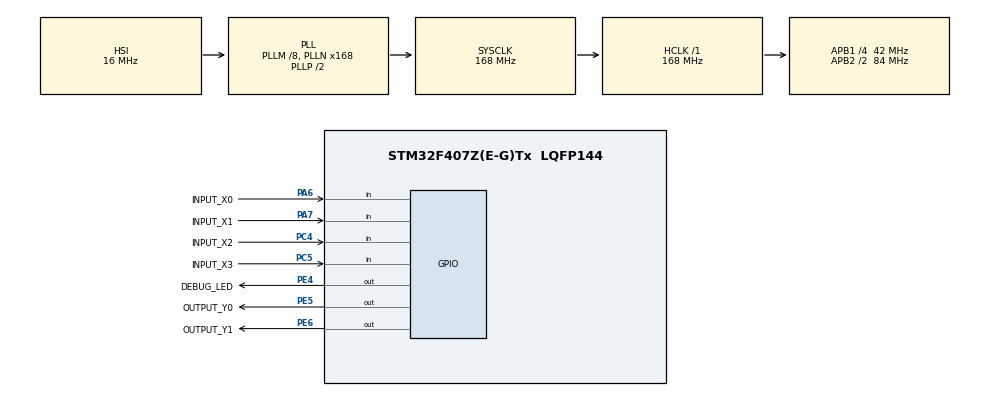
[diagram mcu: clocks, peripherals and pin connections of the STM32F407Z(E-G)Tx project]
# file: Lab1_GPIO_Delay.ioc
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Mcu.Family=STM32F4
Mcu.Name=STM32F407Z(E-G)Tx
Mcu.Package=LQFP144
NVIC.PriorityGroup=NVIC_PRIORITYGROUP_4
PA13.Mode=Serial_Wire
PA13.Signal=SYS_JTMS-SWDIO
PA14.Mode=Serial_Wire
PA14.Signal=SYS_JTCK-SWCLK
PA6.GPIO_Label=INPUT_X0
PA6.Signal=GPIO_Input
PA7.GPIO_Label=INPUT_X1
PA7.Signal=GPIO_Input
PC4.GPIO_Label=INPUT_X2
PC4.Signal=GPIO_Input
PC5.GPIO_Label=INPUT_X3
PC5.Signal=GPIO_Input
PE4.GPIO_Label=DEBUG_LED
PE4.GPIO_PuPd=GPIO_PULLUP
PE4.Signal=GPIO_Output
PE5.GPIO_Label=OUTPUT_Y0
PE5.GPIO_PuPd=GPIO_PULLUP
PE5.Signal=GPIO_Output
PE6.GPIO_Label=OUTPUT_Y1
PE6.GPIO_PuPd=GPIO_PULLUP
PE6.Signal=GPIO_Output
PH0-OSC_IN.Mode=HSE-External-Oscillator
PH0-OSC_IN.Signal=RCC_OSC_IN
PH1-OSC_OUT.Mode=HSE-External-Oscillator
PH1-OSC_OUT.Signal=RCC_OSC_OUT
ProjectManager.HeapSize=0x200
ProjectManager.StackSize=0x400
ProjectManager.TargetToolchain=STM32CubeIDE
RCC.48MHZClocksFreq_Value=84000000
RCC.AHBFreq_Value=168000000
RCC.APB1CLKDivider=RCC_HCLK_DIV4
RCC.APB1Freq_Value=42000000
RCC.APB1TimFreq_Value=84000000
RCC.APB2CLKDivider=RCC_HCLK_DIV2
RCC.APB2Freq_Value=84000000
RCC.APB2TimFreq_Value=168000000
RCC.CortexFreq_Value=168000000
RCC.HCLKFreq_Value=168000000
RCC.HSE_VALUE=8000000
RCC.HSI_VALUE=16000000
RCC.LSE_VALUE=32768
RCC.PLLM=8
RCC.PLLN=168
RCC.SYSCLKFreq_VALUE=168000000
RCC.SYSCLKSource=RCC_SYSCLKSOURCE_PLLCLK
RCC.VCOOutputFreq_Value=336000000
board=custom

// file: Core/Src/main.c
/* USER CODE BEGIN Header */
/**
  ******************************************************************************
  * @file           : main.c
  * @brief          : Main program body
  ******************************************************************************
  * @attention
  *
  * <h2><center>&copy; Copyright (c) 2023 STMicroelectronics.
  * All rights reserved.</center></h2>
  *
  * This software component is licensed by ST under BSD 3-Clause license,
  * the "License"; You may not use this file except in compliance with the
  * License. You may obtain a copy of the License at:
  *                        opensource.org/licenses/BSD-3-Clause
  *
  ******************************************************************************
  */
/* USER CODE END Header */
#include "main.h"
#include "gpio.h"

void SystemClock_Config(void);

int main(void) {

    /* MCU Configuration--------------------------------------------------------*/

    /* Reset of all peripherals, Initializes the Flash interface and the Systick. */
    HAL_Init();

    /* Configure the system clock */
    SystemClock_Config();

    /* Initialize all configured peripherals */
    MX_GPIO_Init();
    /* USER CODE BEGIN 2 */
    //setup code

    /*
     * state 0: RED -> 5s
     * state 1: GREEN -> 3s
     * state 2: YELLOW -> 1s
     * */
    int sec_count = 0,
            state = 0;
    /* USER CODE END 2 */

    /* Infinite loop */
    /* USER CODE BEGIN WHILE */
    // loop
    while (1) {
        /*
         * DEBUG_LED -> RED
         * OUTPUT_Y0 -> GREEN
         * OUTPUT_Y1 -> YELLOW
         * */
        if (sec_count < 0) {
            switch (state) {
                case 0:
                    state = 1;
                    sec_count = 3;

                    HAL_GPIO_WritePin(OUTPUT_Y1_GPIO_Port, OUTPUT_Y1_Pin, 0);
                    HAL_GPIO_WritePin(OUTPUT_Y0_GPIO_Port, OUTPUT_Y0_Pin, 1);
                    HAL_GPIO_WritePin(DEBUG_LED_GPIO_Port, DEBUG_LED_Pin, 0);
                    break;
                case 1:
                    state = 2;
                    sec_count = 1;

                    HAL_GPIO_WritePin(OUTPUT_Y1_GPIO_Port, OUTPUT_Y1_Pin, 1);
                    HAL_GPIO_WritePin(OUTPUT_Y0_GPIO_Port, OUTPUT_Y0_Pin, 0);
                    HAL_GPIO_WritePin(DEBUG_LED_GPIO_Port, DEBUG_LED_Pin, 0);
                    break;
                case 2:
                    state = 0;
                    sec_count = 5;

                    HAL_GPIO_WritePin(OUTPUT_Y1_GPIO_Port, OUTPUT_Y1_Pin, 0);
                    HAL_GPIO_WritePin(OUTPUT_Y0_GPIO_Port, OUTPUT_Y0_Pin, 0);
                    HAL_GPIO_WritePin(DEBUG_LED_GPIO_Port, DEBUG_LED_Pin, 1);
                    break;
                default:
                    // if occur ERROR, all 3 led ON
                    HAL_GPIO_WritePin(OUTPUT_Y1_GPIO_Port, OUTPUT_Y1_Pin, 1);
                    HAL_GPIO_WritePin(OUTPUT_Y0_GPIO_Port, OUTPUT_Y0_Pin, 1);
                    HAL_GPIO_WritePin(DEBUG_LED_GPIO_Port, DEBUG_LED_Pin, 1);
            }
        }
        sec_count -= 1;
        // delay 1000ms
        HAL_Delay(1000);

        /* USER CODE END WHILE */

    }
}

void SystemClock_Config(void) {
    RCC_OscInitTypeDef RCC_OscInitStruct = {0};
    RCC_ClkInitTypeDef RCC_ClkInitStruct = {0};

    /** Configure the main internal regulator output voltage
    */
    __HAL_RCC_PWR_CLK_ENABLE();
    __HAL_PWR_VOLTAGESCALING_CONFIG(PWR_REGULATOR_VOLTAGE_SCALE1);
    /** Initializes the RCC Oscillators according to the specified parameters
    * in the RCC_OscInitTypeDef structure.
    */
    RCC_OscInitStruct.OscillatorType = RCC_OSCILLATORTYPE_HSI;
    RCC_OscInitStruct.HSIState = RCC_HSI_ON;
    RCC_OscInitStruct.HSICalibrationValue = RCC_HSICALIBRATION_DEFAULT;
    RCC_OscInitStruct.PLL.PLLState = RCC_PLL_ON;
    RCC_OscInitStruct.PLL.PLLSource = RCC_PLLSOURCE_HSI;
    RCC_OscInitStruct.PLL.PLLM = 8;
    RCC_OscInitStruct.PLL.PLLN = 168;
    RCC_OscInitStruct.PLL.PLLP = RCC_PLLP_DIV2;
    RCC_OscInitStruct.PLL.PLLQ = 4;
    if (HAL_RCC_OscConfig(&RCC_OscInitStruct) != HAL_OK) {
        Error_Handler();
    }
    /** Initializes the CPU, AHB and APB buses clocks
    */
    RCC_ClkInitStruct.ClockType = RCC_CLOCKTYPE_HCLK | RCC_CLOCKTYPE_SYSCLK
                                  | RCC_CLOCKTYPE_PCLK1 | RCC_CLOCKTYPE_PCLK2;
    RCC_ClkInitStruct.SYSCLKSource = RCC_SYSCLKSOURCE_PLLCLK;
    RCC_ClkInitStruct.AHBCLKDivider = RCC_SYSCLK_DIV1;
    RCC_ClkInitStruct.APB1CLKDivider = RCC_HCLK_DIV4;
    RCC_ClkInitStruct.APB2CLKDivider = RCC_HCLK_DIV2;

    if (HAL_RCC_ClockConfig(&RCC_ClkInitStruct, FLASH_LATENCY_5) != HAL_OK) {
        Error_Handler();
    }
}

void Error_Handler(void) {
    __disable_irq();
    while (1) {
    }
}

/************************ (C) COPYRIGHT STMicroelectronics *****END OF FILE****/
